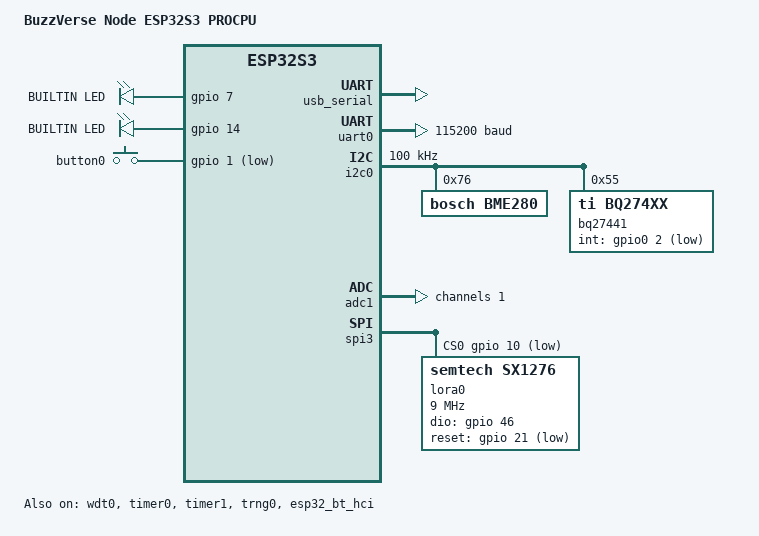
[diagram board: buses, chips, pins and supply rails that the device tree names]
/*
 * Copyright (c) 2024 BuzzVerse.
 *
 * SPDX-License-Identifier: Apache-2.0
 */

/dts-v1/;

#include <zephyr/dt-bindings/input/input-event-codes.h>
#include <espressif/esp32s3/esp32s3_wroom_n16r2.dtsi>
#include <espressif/partitions_0x0_amp.dtsi>
#include "lora_node-pinctrl.dtsi"

/ {
	model = "BuzzVerse Node ESP32S3 PROCPU";
	compatible = "espressif,esp32s3";

	chosen {
		zephyr,sram = &sram0;
		zephyr,console = &usb_serial;
		zephyr,shell-uart = &usb_serial;
		zephyr,flash = &flash0;
		zephyr,code-partition = &slot0_partition;
		zephyr,bt-hci = &esp32_bt_hci;
	};

	aliases {
		i2c-0 = &i2c0;
		watchdog0 = &wdt0;
		led0 = &led0;
		led1 = &led1;
		sw0 = &button0;
		bme280-i2c = &i2c0;
		bq27441-i2c = &i2c0;
		lora0 = &lora0;
	};

	leds {
		compatible = "gpio-leds";

		led0: led_0 {
			gpios = <&gpio 7 GPIO_ACTIVE_HIGH>;
			label = "BUILTIN LED";
		};

		led1: led_1 {
			gpios = <&gpio 14 GPIO_ACTIVE_HIGH>;
			label = "BUILTIN LED";
		};
	};

	buttons {
		compatible = "gpio-keys";

		button0: button_0 {
			gpios = <&gpio 1 (GPIO_PULL_UP | GPIO_ACTIVE_LOW)>;
			zephyr,code = <INPUT_KEY_0>;
		};
	};

};

&usb_serial {
	status = "okay";
};

&uart0 {
	status = "okay";
	current-speed = <115200>;
	pinctrl-0 = <&uart0_default>;
	pinctrl-names = "default";
};

&i2c0 {
	status = "okay";
	clock-frequency = <I2C_BITRATE_STANDARD>;
	pinctrl-0 = <&i2c0_default>;
	pinctrl-names = "default";

	bme280@76 {
		compatible = "bosch,bme280";
		reg = <0x76>;
		status = "okay";
	};

	bq27441@55 {
		compatible = "ti,bq274xx";
		reg = <0x55>;
		design-voltage = <3650>;
		design-capacity = <3500>;
		taper-current = <50>;
		terminate-voltage = <3000>;
		status = "okay";
		int-gpios = <&gpio0 2 GPIO_ACTIVE_LOW>;
	};
};
// Konfiguracja pinów ADC
&pinctrl {
    adc_in_pins: adc_in_pins {
        pinmux =  <&gpio0 8 GPIO_ACTIVE_LOW>;
    };
};


&adc1 {
    status = "okay";
    //pinctrl = <&adc_in_pins>;
    //pinctrl-names = "default";
    st,adc-clock-source = <1>;
    st,adc-prescaler = <4>;


    #address-cells = <1>;
    #size-cells = <0>;


    channel@1 {
        reg = <1>;
        zephyr,gain = "ADC_GAIN_1";
        zephyr,reference = "ADC_REF_INTERNAL";
        zephyr,resolution = <12>;
        zephyr,input-positive = <1>;
        zephyr,acquisition-time = <3>;  // Czas akwizycji
    };
};


&spi3 {
	#address-cells = <1>;
	#size-cells = <0>;
	status = "okay";
	pinctrl-0 = <&spim3_default>;
	pinctrl-names = "default";
	cs-gpios = <&gpio 10 GPIO_ACTIVE_LOW>;

	lora0: sx1278@0 {
		compatible = "semtech,sx1276";
		reg = <0>;
		spi-max-frequency = <9000000>;
		power-amplifier-output = "pa-boost";
		dio-gpios = <&gpio 46 (GPIO_PULL_DOWN | GPIO_ACTIVE_HIGH)>;
		reset-gpios = <&gpio 21 GPIO_ACTIVE_LOW>;
	};
};

&wdt0 {
	status = "okay";
};

&timer0 {
	status = "okay";
};

&timer1 {
	status = "okay";
};

&trng0 {
	status = "okay";
};

&esp32_bt_hci {
	status = "okay";
};
